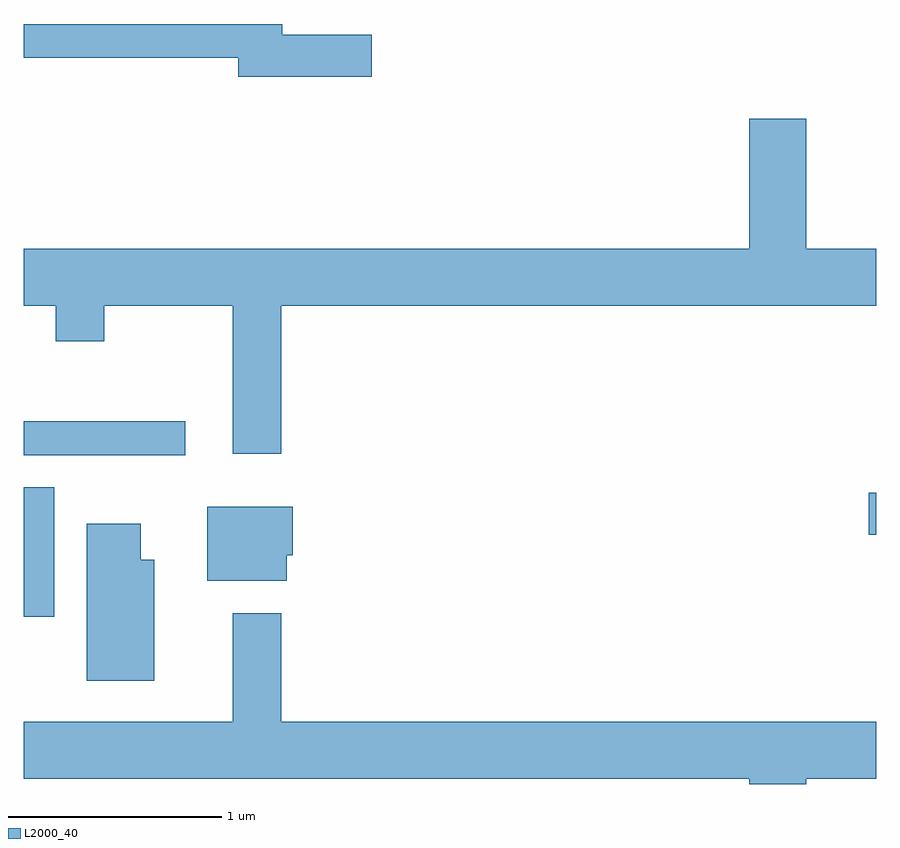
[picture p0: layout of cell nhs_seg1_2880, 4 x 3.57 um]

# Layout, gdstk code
import gdstk
lib = gdstk.Library(unit=1e-6, precision=1e-09)
def R(c, l, rs):  # rectangles x0, y0, x1, y1
    for r in rs: c.add(gdstk.rectangle(r[:2], r[2:], *l))
def P(c, l, *ps):  # polygons
    for p in ps: c.add(gdstk.Polygon(p, *l))
L2000_40 = (2000, 40)

nhs_seg1_2880 = lib.new_cell('nhs_seg1_2880')
R(nhs_seg1_2880, L2000_40, [(271.611,962.496,271.754,963.104), (275.576,962.881,275.611,963.079), (271.611,963.256,272.368,963.414)])
P(nhs_seg1_2880, L2000_40, [(273.244,965.229),(272.824,965.229),(272.824,965.279),(271.611,965.279),(271.611,965.121),(272.616,965.121),(272.616,965.031),(273.244,965.031)],
  [(272.819,963.956),(275.611,963.956),(275.611,964.224),(275.284,964.224),(275.284,964.834),(275.016,964.834),(275.016,964.224),(271.611,964.224),(271.611,963.956),(271.761,963.956),(271.761,963.791),(271.989,963.791),(271.989,963.956),(272.591,963.956),(272.591,963.261),(272.819,963.261)],
  [(272.844,962.786),(272.874,962.786),(272.874,963.014),(272.471,963.014),(272.471,962.666),(272.844,962.666)],
  [(272.224,962.764),(272.159,962.764),(272.159,962.934),(271.906,962.934),(271.906,962.196),(272.224,962.196)],
  [(275.284,961.736),(275.611,961.736),(275.611,962.004),(272.819,962.004),(272.819,962.514),(272.591,962.514),(272.591,962.004),(271.611,962.004),(271.611,961.736),(275.016,961.736),(275.016,961.712),(275.284,961.712)])

lib.write_gds('nhs_seg1_2880.gds')
